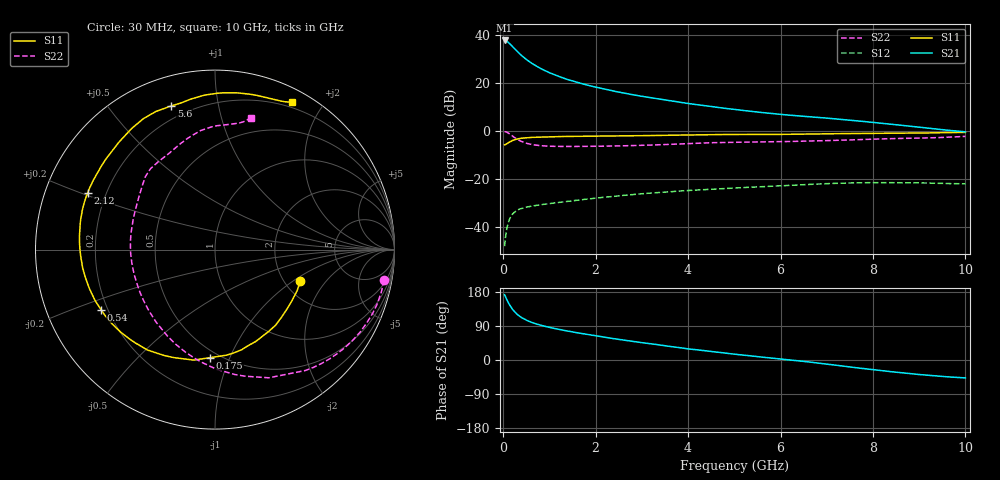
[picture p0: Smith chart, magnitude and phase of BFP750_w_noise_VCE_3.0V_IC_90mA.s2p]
! Infineon Technologies  Discrete & RF Semiconductors
! BFP750
! VCE =  3.0 V,  IC =  90 mA
! Common Emitter S-Parameters:  Jan 2016
# GHz  S  MA  R  50
!  f  S11  S21  S12  S22
! GHz  MAG  ANG  MAG  ANG  MAG  ANG  MAG  ANG
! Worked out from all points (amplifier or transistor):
!   229 points, 30 MHz to 10 GHz, reference 50 ohm
!   highest |S21| = 37.7 dB at 30 MHz (marker M1)
!   |S21| within 3 dB of that: start of sweep to 223.6 MHz
!   unconditionally stable (mu >= 1): 3.326 GHz to end of sweep
!   at 280 MHz: K = 0.21, MSG = 33.5 dB, |S12| = -33.5 dB
!   at 1.78 GHz: K = 0.79, MSG = 23.9 dB, |S12| = -28.6 dB
!   at 10 GHz: K = 1.04, MAG = 9.6 dB, |S12| = -22.2 dB
!   lowest NFmin = 1.47 dB at 450 MHz
!   S11 on the Smith chart (normalised r, x): 30 MHz: 2.43, -1.15; 175 MHz: 0.45, -0.85; 540 MHz: 0.17, -0.24; 2.12 GHz: 0.13, +0.21; 5.6 GHz: 0.14, +0.73; 10 GHz: 0.14, +1.64
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0.03  0.5071 -20.3  76.49 172.2  0.0039 82.9  0.9566 -10.2
0.05  0.5144 -33.3  75.98 166.2  0.0061 78.2  0.9537 -18.2
0.07  0.5289 -45.7  74.22 160.9  0.0082 72.9  0.9387 -25.9
0.1  0.5516 -61.8  70.86 153.7  0.0113 66.8  0.9069 -36.9
0.15  0.5917 -83.8  64.21 142.7  0.0151 58.1  0.8412 -53.2
0.175  0.6025 -92.6  60.5 138.5  0.0166 54.4  0.802 -59.9
0.2  0.6269 -100.9  57.17 133.7  0.0182 51.3  0.7748 -67.2
0.24  0.6445 -111.1  52.15 128.2  0.0198 46.9  0.7252 -76.6
0.32  0.6779 -127.2  43.56 118.8  0.0224 40.6  0.6491 -92.7
0.4  0.6986 -138.8  36.87 111.6  0.024 36.5  0.5955 -105.9
0.54  0.7174 -152.2  28.86 103.2  0.0259 32.5  0.536 -122.8
0.7  0.733 -162.9  22.76 95.7  0.0275 30.3  0.5015 -137.4
1  0.748 -176.0  16.22 86.0  0.0301 29.1  0.4757 -155.4
1.3  0.7585 174.8  12.57 78.5  0.0327 29.0  0.4694 -167.5
1.7  0.7697 164.9  9.617 69.8  0.0363 28.9  0.4709 -179.2
2.12  0.7767 156.1  7.657 61.5  0.0403 28.0  0.4752 170.9
3.4  0.7989 133.6  4.529 39.3  0.0519 22.4  0.5101 147.2
5.1  0.8363 112.2  2.712 14.2  0.0645 12.2  0.5774 127.4
5.6  0.8366 106.9  2.397 7.6  0.068 8.9  0.5839 121.6
6.8  0.8567 95.9  1.897 -7.9  0.0771 -0.1  0.6149 109.4
8.4  0.8875 77.2  1.363 -30.9  0.0827 -15.8  0.6841 91.6
10  0.9254 62.5  0.948 -47.3  0.0779 -27.7  0.7627 74.6
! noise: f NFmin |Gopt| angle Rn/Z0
0.45  1.47  0.31  -169  0.33
0.9  1.48  0.4  -164  0.16
1.5  1.49  0.49  -154  0.09
1.9  1.49  0.5  -149  0.1
2.4  1.5  0.5  -142  0.12
3.5  1.74  0.51  -125  0.17
